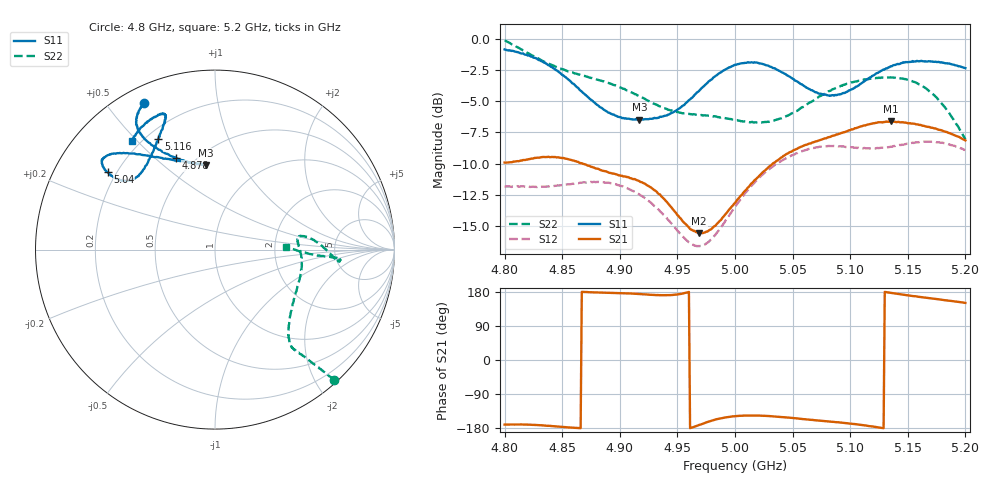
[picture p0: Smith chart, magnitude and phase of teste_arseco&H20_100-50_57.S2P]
! Network Analyzer HP8722D
! Hewlett-Packard
! Data name: Linha & Wilkinson
! Saver's name: Rodrigo Anjos
! Comments: Teste da utilização de aquisição
! continua pelo VNA HP8722D
! Time and date: 6/5/2025 13:02
!  Frequency  S11  S21  S12  S22
# HZ  S  MA R 50
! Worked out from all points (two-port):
!   401 points, 4.8 GHz to 5.2 GHz, reference 50 ohm
!   highest |S21| = -6.62 dB at 5.135 GHz (marker M1); lowest = -15.6 dB at 4.969 GHz (marker M2)
!   |S21| within 3 dB of the highest: 4.822 GHz to 4.854 GHz (32.12 MHz wide, 0.664 % of centre); 5.039 GHz to end of sweep
!   lowest |S11| = -6.5 dB at 4.917 GHz (marker M3), VSWR 2.80, Z = 29.2 + j35.5 ohm
!   |S11| at or under -10 dB: nowhere
!   |S22| runs from -8.1 to -0.1 dB; largest |S21 - S12| = 0.83
!   S11 on the Smith chart (normalised r, x): 4.8 GHz: 0.07, +0.63; 4.878 GHz: 0.40, +0.59; 5.04 GHz: 0.17, +0.31; 5.116 GHz: 0.25, +0.58; 5.2 GHz: 0.17, +0.48
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4.8e9  0.9059 115.7  0.3196 -170.5  0.2565 -86.0  0.9838 -47.4
4.835e9  0.8 122.6  0.3362 -173.0  0.2561 -76.5  0.8065 -49.7
4.867e9  0.6144 118.0  0.3178 179.8  0.2656 -67.2  0.7148 -51.6
4.878e9  0.5557 113.1  0.3047 178.3  0.2675 -65.9  0.6921 -51.9
4.902e9  0.481 100.3  0.2831 176.7  0.2573 -66.7  0.6334 -49.7
4.917e9  0.4743 96.2  0.2694 174.1  0.2383 -68.3  0.5888 -45.8
4.934e9  0.4838 99.1  0.239 171.0  0.2068 -69.4  0.5378 -37.4
4.949e9  0.5165 108.8  0.2005 172.8  0.1734 -66.0  0.5094 -27.7
4.969e9  0.6194 123.5  0.1666 -171.2  0.1481 -47.7  0.4962 -15.1
4.981e9  0.6978 130.0  0.1762 -159.1  0.1607 -33.7  0.4887 -8.7
5e9  0.7867 137.3  0.2203 -148.3  0.2125 -21.3  0.4728 -0.3
5.019e9  0.8029 141.8  0.2768 -146.8  0.2717 -18.2  0.4624 5.8
5.04e9  0.7372 144.2  0.3344 -150.3  0.3239 -18.3  0.4797 9.2
5.067e9  0.6216 141.9  0.3845 -158.0  0.365 -20.5  0.5621 4.6
5.09e9  0.5987 131.9  0.4162 -164.4  0.3708 -23.8  0.6408 -2.0
5.116e9  0.6943 117.1  0.4542 -174.2  0.3646 -26.7  0.689 -5.4
5.134e9  0.769 111.4  0.4647 177.7  0.3686 -28.6  0.6996 -4.8
5.135e9  0.7749 111.2  0.4668 177.3  0.3698 -28.7  0.7006 -4.7
5.148e9  0.8063 110.5  0.4618 171.5  0.3789 -31.3  0.6891 -4.0
5.164e9  0.8114 113.2  0.4482 165.1  0.3874 -35.9  0.6406 -3.6
5.181e9  0.8004 119.4  0.4267 158.4  0.3828 -41.2  0.5403 -2.8
5.2e9  0.7626 127.3  0.3918 150.7  0.3588 -46.3  0.3957 2.4
